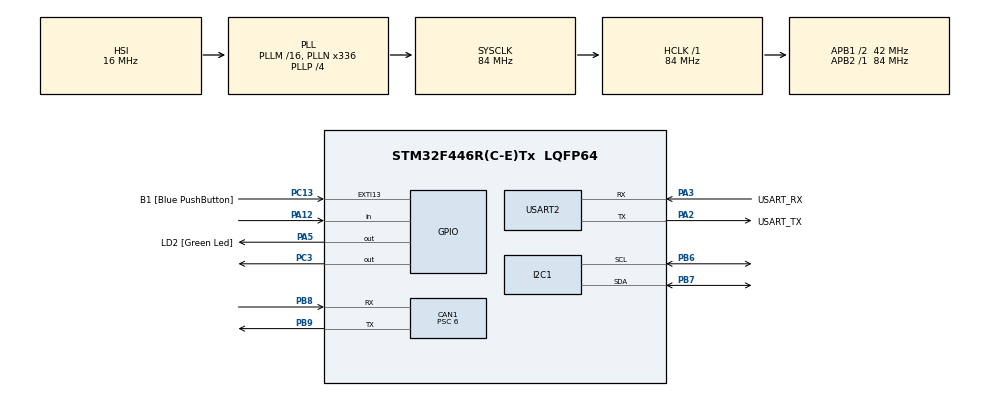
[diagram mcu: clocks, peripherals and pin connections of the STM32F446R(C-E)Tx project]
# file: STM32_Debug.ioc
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CAN1.ABOM=ENABLE
CAN1.BS1=CAN_BS1_11TQ
CAN1.BS2=CAN_BS2_2TQ
CAN1.CalculateBaudRate=500000
CAN1.CalculateTimeBit=2000
CAN1.CalculateTimeQuantum=142.85714285714286
CAN1.NART=ENABLE
CAN1.Prescaler=6
Dma.I2C1_RX.0.Direction=DMA_PERIPH_TO_MEMORY
Dma.I2C1_RX.0.FIFOMode=DMA_FIFOMODE_DISABLE
Dma.I2C1_RX.0.Instance=DMA1_Stream0
Dma.I2C1_RX.0.MemDataAlignment=DMA_MDATAALIGN_BYTE
Dma.I2C1_RX.0.MemInc=DMA_MINC_ENABLE
Dma.I2C1_RX.0.Mode=DMA_NORMAL
Dma.I2C1_RX.0.PeriphDataAlignment=DMA_PDATAALIGN_BYTE
Dma.I2C1_RX.0.PeriphInc=DMA_PINC_DISABLE
Dma.I2C1_RX.0.Priority=DMA_PRIORITY_HIGH
Dma.Request0=I2C1_RX
I2C1.I2C_Mode=I2C_Fast
Mcu.Family=STM32F4
Mcu.Name=STM32F446R(C-E)Tx
Mcu.Package=LQFP64
NVIC.CAN1_RX0_IRQn=true\:0\:0\:false\:false\:true\:true\:true\:true
NVIC.DMA1_Stream0_IRQn=true\:0\:0\:false\:false\:true\:false\:true\:true
NVIC.I2C1_ER_IRQn=true\:0\:0\:false\:false\:true\:true\:true\:true
NVIC.I2C1_EV_IRQn=true\:0\:0\:false\:false\:true\:true\:true\:true
NVIC.PriorityGroup=NVIC_PRIORITYGROUP_0
NVIC.TIM6_DAC_IRQn=true\:0\:0\:false\:false\:true\:true\:true\:true
NVIC.TIM7_IRQn=true\:0\:0\:false\:false\:true\:true\:true\:true
PA12.GPIO_PuPd=GPIO_PULLUP
PA12.Signal=GPIO_Input
PA13.GPIO_Label=TMS
PA13.Mode=Serial_Wire
PA13.Signal=SYS_JTMS-SWDIO
PA14.GPIO_Label=TCK
PA14.Mode=Serial_Wire
PA14.Signal=SYS_JTCK-SWCLK
PA2.GPIO_Label=USART_TX
PA2.Mode=Asynchronous
PA2.Signal=USART2_TX
PA3.GPIO_Label=USART_RX
PA3.Mode=Asynchronous
PA3.Signal=USART2_RX
PA5.GPIO_Label=LD2 [Green Led]
PA5.GPIO_Speed=GPIO_SPEED_FREQ_HIGH
PA5.Signal=GPIO_Output
PB3.GPIO_Label=SWO
PB3.Signal=SYS_JTDO-SWO
PB6.Mode=I2C
PB6.Signal=I2C1_SCL
PB7.Mode=I2C
PB7.Signal=I2C1_SDA
PB8.Mode=CAN_Activate
PB8.Signal=CAN1_RX
PB9.Mode=CAN_Activate
PB9.Signal=CAN1_TX
PC13.GPIO_Label=B1 [Blue PushButton]
PC13.GPIO_ModeDefaultEXTI=GPIO_MODE_IT_FALLING
PC13.Signal=GPXTI13
PC14-OSC32_IN.Signal=RCC_OSC32_IN
PC15-OSC32_OUT.Signal=RCC_OSC32_OUT
PC3.GPIO_Speed=GPIO_SPEED_FREQ_HIGH
PC3.Signal=GPIO_Output
PH0-OSC_IN.Mode=HSE-External-Oscillator
PH0-OSC_IN.Signal=RCC_OSC_IN
PH1-OSC_OUT.Mode=HSE-External-Oscillator
PH1-OSC_OUT.Signal=RCC_OSC_OUT
ProjectManager.HeapSize=0x200
ProjectManager.StackSize=0x400
ProjectManager.TargetToolchain=STM32CubeIDE
RCC.48MHZClocksFreq_Value=84000000
RCC.AHBFreq_Value=84000000
RCC.APB1CLKDivider=RCC_HCLK_DIV2
RCC.APB1Freq_Value=42000000
RCC.APB1TimFreq_Value=84000000
RCC.APB2Freq_Value=84000000
RCC.APB2TimFreq_Value=84000000
RCC.CortexFreq_Value=84000000
RCC.FLatency-AdvancedSettings=FLASH_LATENCY_2
RCC.HCLKFreq_Value=84000000
RCC.HSE_VALUE=16000000
RCC.HSI_VALUE=16000000
RCC.PLLN=336
RCC.PLLP=RCC_PLLP_DIV4
RCC.PLLQ=7
RCC.SYSCLKFreq_VALUE=84000000
RCC.SYSCLKSource=RCC_SYSCLKSOURCE_PLLCLK
RCC.USBFreq_Value=48000000
RCC.VCOOutputFreq_Value=336000000
TIM10.AutoReloadPreload=TIM_AUTORELOAD_PRELOAD_ENABLE
TIM10.Period=65535
TIM10.Prescaler=8400-1
TIM6.AutoReloadPreload=TIM_AUTORELOAD_PRELOAD_ENABLE
TIM6.Period=499
TIM6.Prescaler=839
TIM7.AutoReloadPreload=TIM_AUTORELOAD_PRELOAD_ENABLE
TIM7.Period=1000-1
TIM7.Prescaler=840-1
USART2.VirtualMode=VM_ASYNC
VP_TIM10_VS_ClockSourceINT.Mode=Enable_Timer
VP_TIM6_VS_ClockSourceINT.Mode=Enable_Timer
VP_TIM7_VS_ClockSourceINT.Mode=Enable_Timer
board=NUCLEO-F446RE

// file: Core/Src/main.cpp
/* USER CODE BEGIN Header */
/**
  ******************************************************************************
  * @file           : main.c
  * @brief          : Main program body
  ******************************************************************************
  * @attention
  *
  * Copyright (c) 2026 STMicroelectronics.
  * All rights reserved.
  *
  * This software is licensed under terms that can be found in the LICENSE file
  * in the root directory of this software component.
  * If no LICENSE file comes with this software, it is provided AS-IS.
  *
  ******************************************************************************
  */
/* USER CODE END Header */
#include "main.h"

/* USER CODE BEGIN Includes */
#include "ICM20602.h"
#include <stdio.h>
#include <string.h>
#include <math.h>
#include "ODrive/ODriveCAN.h"
#include "ODrive_CubeIDE_glue.h"
#include "llcp.h"
//#include "usbd_cdc_if.h"
/* USER CODE END Includes */

/* USER CODE BEGIN PTD */
struct ODriveUserData {

Heartbeat_msg_t last_heartbeat;

bool received_heartbeat = false;

Get_Encoder_Estimates_msg_t last_feedback;

bool received_feedback = false;

};
/* USER CODE END PTD */

CAN_HandleTypeDef hcan1;

I2C_HandleTypeDef hi2c1;
DMA_HandleTypeDef hdma_i2c1_rx;

/* USER CODE BEGIN PV */
extern volatile float gyro_y;
extern volatile float deg_XZ;
CompFilter filter;
recieve_msg recieved_msg;
float motor_position = 0;
float reference_angle = 0;
volatile uint8_t dma_done = 0;
static uint8_t send_pos = 0;
extern uint8_t i2c_need_recovery;
uint8_t static position_enable = 1;
static uint32_t start_time_ms = 0;
uint8_t running = 0;
uint32_t value = 0;
uint8_t send_data = 0;

//--------------------------ODrive----------------------------------
CubeCANInterface can_intf = {&hcan1};
ODriveCanIntfWrapper can_wrapper = wrap_can_intf(can_intf);
ODriveCAN odrv0(can_wrapper, ODRV0_NODE_ID);

ODriveUserData odrv0_user_data;
/* USER CODE END PV */

void SystemClock_Config(void);
static void MX_GPIO_Init(void);
static void MX_DMA_Init(void);
static void MX_USART2_UART_Init(void);
static void MX_CAN1_Init(void);
static void MX_I2C1_Init(void);
static void MX_TIM10_Init(void);
static void MX_TIM6_Init(void);
static void MX_TIM7_Init(void);
/* USER CODE BEGIN PFP */

void onHeartbeat(Heartbeat_msg_t& msg, void* user_data) {

ODriveUserData* odrv_user_data = static_cast<ODriveUserData*>(user_data);

odrv_user_data->last_heartbeat = msg;

odrv_user_data->received_heartbeat = true;

}

// Called every time a feedback message arrives

void onFeedback(Get_Encoder_Estimates_msg_t& msg, void* user_data) {

ODriveUserData* odrv_user_data = static_cast<ODriveUserData*>(user_data);

odrv_user_data->last_feedback = msg;

odrv_user_data->received_feedback = true;

}

/* USER CODE END PFP */

int main(void)
{

  /* MCU Configuration--------------------------------------------------------*/

  /* Reset of all peripherals, Initializes the Flash interface and the Systick. */
  HAL_Init();

  /* Configure the system clock */
  SystemClock_Config();

  /* Initialize all configured peripherals */
  MX_GPIO_Init();
  MX_DMA_Init();
  MX_USART2_UART_Init();
  MX_CAN1_Init();
  MX_I2C1_Init();
  MX_TIM10_Init();
  MX_TIM6_Init();
  MX_TIM7_Init();
  /* USER CODE BEGIN 2 */
  ICM20602_Init();
  CF_Init(&filter, 0.0);

  //--------------------------------ODrive--------------------------

    //printf("ODrive Start \r\n");

    odrv0.onFeedback(onFeedback, &odrv0_user_data);

    odrv0.onStatus(onHeartbeat, &odrv0_user_data);

    // --- Configure CAN Filter ---

    // This is CRITICAL for receiving any messages

    CAN_FilterTypeDef sFilterConfig;

    sFilterConfig.FilterBank = 0;

    sFilterConfig.FilterMode = CAN_FILTERMODE_IDMASK;

    sFilterConfig.FilterScale = CAN_FILTERSCALE_32BIT;

    sFilterConfig.FilterIdHigh = 0x0000;

    sFilterConfig.FilterIdLow = 0x0000;

    sFilterConfig.FilterMaskIdHigh = 0x0000;

    sFilterConfig.FilterMaskIdLow = 0x0000; // Accept all messages

    sFilterConfig.FilterFIFOAssignment = CAN_RX_FIFO0;

    sFilterConfig.FilterActivation = ENABLE;

    if (HAL_CAN_ConfigFilter(&hcan1, &sFilterConfig) != HAL_OK) {
    	//printf("ERROR Filter \r\n");
    	Error_Handler();
    }

    // --- Start CAN Peripheral ---

    if (HAL_CAN_Start(&hcan1) != HAL_OK) {
    	//printf("ERROR CAN \r\n");
    	Error_Handler();
    }

    if (HAL_CAN_ActivateNotification(&hcan1, CAN_IT_RX_FIFO0_MSG_PENDING) != HAL_OK) {
    	//printf("ERROR CAN_2 \r\n");
        Error_Handler();
    }

    // --- Wait for ODrive ---

    //printf("ODrive Wait \r\n");

    while (!odrv0_user_data.received_heartbeat) {
    	pumpEvents(can_intf); // Check for messages
    	HAL_Delay(100); // Wait 100ms
    }

    //printf("ODrive Found \r\n");

    // --- Request Bus Voltage ---

    Get_Bus_Voltage_Current_msg_t vbus;

    if (!odrv0.request(vbus, 1000)) {
    	//printf("Vbus Fail \r\n");
    	Error_Handler();
    }

    // --- Set Closed Loop Control ---

    // CHCI ABY SE SPOUSTELA NA MACKNUTI NEBO POSLANI PRIKAZU S ROS2

    // Z ROSU chci byt schopen zobrazit aktualni uhel, ktery to ma sledovat a zmenit ho
    // AKTUALNI hodnotu IMU
    // aktualni polohu Odrive pozice
    // ZAPNOUT/VYPNOUT cely gimbal

    // K teto funkci pridam flag a ktery pridam do podminky v cekani po startu a posilani setPointu

    //printf("Close loop \r\n");

/*
    while (odrv0_user_data.last_heartbeat.Axis_State != ODriveAxisState::AXIS_STATE_CLOSED_LOOP_CONTROL) {

    	odrv0.clearErrors();

    	HAL_Delay(1);

    	odrv0.setState(ODriveAxisState::AXIS_STATE_CLOSED_LOOP_CONTROL);

    	// Wait 150ms for state to take effect

    	for (int i = 0; i < 15; ++i) {

    		HAL_Delay(10);

    		pumpEvents(can_intf); // Keep checking for heartbeats
    	}
    }

    //printf("ODrive Running \r\n");

    odrv0.setPosition(-(reference_angle/360.0f), 0.0, 0);
    start_time_ms = HAL_GetTick();
 */

    ///////////////////////////////////////////////////////////////

    LL_TIM_SetCounter(TIM10, 0);
	LL_TIM_EnableCounter(TIM10);

	LL_TIM_SetCounter(TIM6, 0);
	LL_TIM_EnableIT_UPDATE(TIM6);
	LL_TIM_EnableCounter(TIM6);

	LL_TIM_SetCounter(TIM7, 0);
	LL_TIM_EnableIT_UPDATE(TIM7);
	LL_TIM_EnableCounter(TIM7);

  /* USER CODE END 2 */

  /* Infinite loop */
  /* USER CODE BEGIN WHILE */
  while (1)
  {
	  		  //HAL_GPIO_WritePin(GPIOC, GPIO_PIN_3, GPIO_PIN_SET);

    /* USER CODE END WHILE */

    /* USER CODE BEGIN 3 */

	  bool message_received = receive_message();

	  if (message_received) {
		  switch(recieved_msg.id) {
			  case START: // zapnout
				  send_ACK(recieved_msg.id);

				  while (odrv0_user_data.last_heartbeat.Axis_State != ODriveAxisState::AXIS_STATE_CLOSED_LOOP_CONTROL) {

					odrv0.clearErrors();

					HAL_Delay(1);

					odrv0.setState(ODriveAxisState::AXIS_STATE_CLOSED_LOOP_CONTROL);

					// Wait 150ms for state to take effect

					for (int i = 0; i < 15; ++i) {

						HAL_Delay(10);

						pumpEvents(can_intf); // Keep checking for heartbeats
					}
				  }

				  //printf("ODrive Running \r\n");

				  //odrv0.setPosition(-(reference_angle/360.0f), 0.0, 0);
				  HAL_GPIO_WritePin(GPIOA, LD2_Pin, GPIO_PIN_SET);
				  position_enable = 0;
				  running = 1;
				  //start_time_ms = HAL_GetTick();

				  break;
			  case STOP: //vypnout
				  send_ACK(recieved_msg.id);
				  position_enable = 1;
				  running = 0;

				  while (odrv0_user_data.last_heartbeat.Axis_State != ODriveAxisState::AXIS_STATE_IDLE) {

					odrv0.clearErrors();

					HAL_Delay(1);

					odrv0.setState(ODriveAxisState::AXIS_STATE_IDLE);

					// Wait 150ms for state to take effect

					for (int i = 0; i < 15; ++i) {

						HAL_Delay(10);

						pumpEvents(can_intf); // Keep checking for heartbeats
					}
				  }
				  break;
			  case 51: // feedback

				  //send_imu(IMU_MSG_ID, filter.angle, feedback.Pos_Estimate);
				  break;
			  case REFERENCE_ANGLE_ID:
				  reference_angle = (float)recieved_msg.value;
				  send_ACK(recieved_msg.id);
				  odrv0.setPosition(-(reference_angle/360.0f), 0.0, 0);
				  position_enable = 0;

				  break;

			  case START_INFO_ID:
				  send_data = 1;

				  break;
			  default:
				  break;
		  }
	  }

/*
 *
	  if (i2c_need_recovery) {
		  i2c_need_recovery = 0;
		  HAL_I2C_DeInit(&hi2c1);
		  I2C_Bus_Recover();
		  HAL_I2C_Init(&hi2c1);
	  }
 */

	  if (dma_done) {
	      dma_done = 0;
	      static uint16_t previous_tick = 0;

		  uint16_t current_tick = LL_TIM_GetCounter(TIM10);

		  uint16_t dt_tick = current_tick - previous_tick;
		  float dt_float = (float)dt_tick*0.0001;
		  previous_tick = current_tick;

		  CF_Update(&filter, gyro_y, deg_XZ, dt_float);
		  //printf("dt: %.4f \r\n", dt_float);
		  send_pos = 1;
	  }

	  if (!position_enable) {
		  value++;
		  if (value >= 500000) {
			  value = 0;
			  HAL_GPIO_WritePin(GPIOA, LD2_Pin, GPIO_PIN_RESET);

			  position_enable = 1;
		  }
		  //zkusit vypisovat tady pres UART, printf("%d\r\n",5);

/*
 *
	      if ((HAL_GetTick() - start_time_ms) >= 5000) {
			  HAL_GPIO_WritePin(GPIOA, LD2_Pin, GPIO_PIN_RESET);
	          position_enable = 1;
			  printf("%d \r\n", 6);

	      }
 */
	  }

	  /*
	  if (send_pos && position_enable && running) {
		  	  send_pos = 0;
		  	  Get_Encoder_Estimates_msg_t feedback = odrv0_user_data.last_feedback;
	  		  motor_position = feedback.Pos_Estimate + ((-reference_angle/360.0f)+(filter.angle/360.0f)); // zkusit omezit ((-reference_angle/360.0f)+(filter.angle/360.0f)), na maximalni prirustek 20 stupnu
              if (motor_position >= -0.25 && motor_position <=0.25) {
            	  odrv0.setPosition(motor_position, 0.0, 0.0);
              }
	  }

	  if (send_data) {
	  	  send_ACK(recieved_msg.id);

	  	  // udelat si posilaci zpravu
	  }
	   */

	  //static uint8_t msg[] = "Hello from STM32\r\n";
	  //CDC_Transmit_FS(msg, sizeof(msg));

    /* USER CODE END WHILE */

    /* USER CODE BEGIN 3 */
  }
  /* USER CODE END 3 */
}

void SystemClock_Config(void)
{
  RCC_OscInitTypeDef RCC_OscInitStruct = {0};
  RCC_ClkInitTypeDef RCC_ClkInitStruct = {0};

  /** Configure the main internal regulator output voltage
  */
  __HAL_RCC_PWR_CLK_ENABLE();
  __HAL_PWR_VOLTAGESCALING_CONFIG(PWR_REGULATOR_VOLTAGE_SCALE3);

  /** Initializes the RCC Oscillators according to the specified parameters
  * in the RCC_OscInitTypeDef structure.
  */
  RCC_OscInitStruct.OscillatorType = RCC_OSCILLATORTYPE_HSI;
  RCC_OscInitStruct.HSIState = RCC_HSI_ON;
  RCC_OscInitStruct.HSICalibrationValue = RCC_HSICALIBRATION_DEFAULT;
  RCC_OscInitStruct.PLL.PLLState = RCC_PLL_ON;
  RCC_OscInitStruct.PLL.PLLSource = RCC_PLLSOURCE_HSI;
  RCC_OscInitStruct.PLL.PLLM = 16;
  RCC_OscInitStruct.PLL.PLLN = 336;
  RCC_OscInitStruct.PLL.PLLP = RCC_PLLP_DIV4;
  RCC_OscInitStruct.PLL.PLLQ = 7;
  RCC_OscInitStruct.PLL.PLLR = 2;
  if (HAL_RCC_OscConfig(&RCC_OscInitStruct) != HAL_OK)
  {
    Error_Handler();
  }

  /** Initializes the CPU, AHB and APB buses clocks
  */
  RCC_ClkInitStruct.ClockType = RCC_CLOCKTYPE_HCLK|RCC_CLOCKTYPE_SYSCLK
                              |RCC_CLOCKTYPE_PCLK1|RCC_CLOCKTYPE_PCLK2;
  RCC_ClkInitStruct.SYSCLKSource = RCC_SYSCLKSOURCE_PLLCLK;
  RCC_ClkInitStruct.AHBCLKDivider = RCC_SYSCLK_DIV1;
  RCC_ClkInitStruct.APB1CLKDivider = RCC_HCLK_DIV2;
  RCC_ClkInitStruct.APB2CLKDivider = RCC_HCLK_DIV1;

  if (HAL_RCC_ClockConfig(&RCC_ClkInitStruct, FLASH_LATENCY_2) != HAL_OK)
  {
    Error_Handler();
  }
}

static void MX_CAN1_Init(void)
{

  hcan1.Instance = CAN1;
  hcan1.Init.Prescaler = 6;
  hcan1.Init.Mode = CAN_MODE_NORMAL;
  hcan1.Init.SyncJumpWidth = CAN_SJW_1TQ;
  hcan1.Init.TimeSeg1 = CAN_BS1_11TQ;
  hcan1.Init.TimeSeg2 = CAN_BS2_2TQ;
  hcan1.Init.TimeTriggeredMode = DISABLE;
  hcan1.Init.AutoBusOff = ENABLE;
  hcan1.Init.AutoWakeUp = DISABLE;
  hcan1.Init.AutoRetransmission = ENABLE;
  hcan1.Init.ReceiveFifoLocked = DISABLE;
  hcan1.Init.TransmitFifoPriority = DISABLE;
  if (HAL_CAN_Init(&hcan1) != HAL_OK)
  {
    Error_Handler();
  }

}

static void MX_I2C1_Init(void)
{

  hi2c1.Instance = I2C1;
  hi2c1.Init.ClockSpeed = 400000;
  hi2c1.Init.DutyCycle = I2C_DUTYCYCLE_2;
  hi2c1.Init.OwnAddress1 = 0;
  hi2c1.Init.AddressingMode = I2C_ADDRESSINGMODE_7BIT;
  hi2c1.Init.DualAddressMode = I2C_DUALADDRESS_DISABLE;
  hi2c1.Init.OwnAddress2 = 0;
  hi2c1.Init.GeneralCallMode = I2C_GENERALCALL_DISABLE;
  hi2c1.Init.NoStretchMode = I2C_NOSTRETCH_DISABLE;
  if (HAL_I2C_Init(&hi2c1) != HAL_OK)
  {
    Error_Handler();
  }

}

static void MX_TIM6_Init(void)
{

  LL_TIM_InitTypeDef TIM_InitStruct = {0};

  /* Peripheral clock enable */
  LL_APB1_GRP1_EnableClock(LL_APB1_GRP1_PERIPH_TIM6);

  /* TIM6 interrupt Init */
  NVIC_SetPriority(TIM6_DAC_IRQn, NVIC_EncodePriority(NVIC_GetPriorityGrouping(),0, 0));
  NVIC_EnableIRQ(TIM6_DAC_IRQn);

  TIM_InitStruct.Prescaler = 839;
  TIM_InitStruct.CounterMode = LL_TIM_COUNTERMODE_UP;
  TIM_InitStruct.Autoreload = 499;
  LL_TIM_Init(TIM6, &TIM_InitStruct);
  LL_TIM_EnableARRPreload(TIM6);
  LL_TIM_SetTriggerOutput(TIM6, LL_TIM_TRGO_RESET);
  LL_TIM_DisableMasterSlaveMode(TIM6);

}

static void MX_TIM7_Init(void)
{

  LL_TIM_InitTypeDef TIM_InitStruct = {0};

  /* Peripheral clock enable */
  LL_APB1_GRP1_EnableClock(LL_APB1_GRP1_PERIPH_TIM7);

  /* TIM7 interrupt Init */
  NVIC_SetPriority(TIM7_IRQn, NVIC_EncodePriority(NVIC_GetPriorityGrouping(),0, 0));
  NVIC_EnableIRQ(TIM7_IRQn);

  TIM_InitStruct.Prescaler = 839;
  TIM_InitStruct.CounterMode = LL_TIM_COUNTERMODE_UP;
  TIM_InitStruct.Autoreload = 1000-LL_TIM_IC_FILTER_FDIV1_N2;
  LL_TIM_Init(TIM7, &TIM_InitStruct);
  LL_TIM_EnableARRPreload(TIM7);
  LL_TIM_SetTriggerOutput(TIM7, LL_TIM_TRGO_RESET);
  LL_TIM_DisableMasterSlaveMode(TIM7);

}

static void MX_TIM10_Init(void)
{

  LL_TIM_InitTypeDef TIM_InitStruct = {0};

  /* Peripheral clock enable */
  LL_APB2_GRP1_EnableClock(LL_APB2_GRP1_PERIPH_TIM10);

  TIM_InitStruct.Prescaler = 8399;
  TIM_InitStruct.CounterMode = LL_TIM_COUNTERMODE_UP;
  TIM_InitStruct.Autoreload = 65535;
  TIM_InitStruct.ClockDivision = LL_TIM_CLOCKDIVISION_DIV1;
  LL_TIM_Init(TIM10, &TIM_InitStruct);
  LL_TIM_EnableARRPreload(TIM10);

}

static void MX_USART2_UART_Init(void)
{

  LL_USART_InitTypeDef USART_InitStruct = {0};

  LL_GPIO_InitTypeDef GPIO_InitStruct = {0};

  /* Peripheral clock enable */
  LL_APB1_GRP1_EnableClock(LL_APB1_GRP1_PERIPH_USART2);

  LL_AHB1_GRP1_EnableClock(LL_AHB1_GRP1_PERIPH_GPIOA);
  /**USART2 GPIO Configuration
  PA2   ------> USART2_TX
  PA3   ------> USART2_RX
  */
  GPIO_InitStruct.Pin = LL_GPIO_PIN_2|LL_GPIO_PIN_3;
  GPIO_InitStruct.Mode = LL_GPIO_MODE_ALTERNATE;
  GPIO_InitStruct.Speed = LL_GPIO_SPEED_FREQ_VERY_HIGH;
  GPIO_InitStruct.OutputType = LL_GPIO_OUTPUT_PUSHPULL;
  GPIO_InitStruct.Pull = LL_GPIO_PULL_NO;
  GPIO_InitStruct.Alternate = LL_GPIO_AF_7;
  LL_GPIO_Init(GPIOA, &GPIO_InitStruct);

  USART_InitStruct.BaudRate = 115200;
  USART_InitStruct.DataWidth = LL_USART_DATAWIDTH_8B;
  USART_InitStruct.StopBits = LL_USART_STOPBITS_1;
  USART_InitStruct.Parity = LL_USART_PARITY_NONE;
  USART_InitStruct.TransferDirection = LL_USART_DIRECTION_TX_RX;
  USART_InitStruct.HardwareFlowControl = LL_USART_HWCONTROL_NONE;
  USART_InitStruct.OverSampling = LL_USART_OVERSAMPLING_16;
  LL_USART_Init(USART2, &USART_InitStruct);
  LL_USART_ConfigAsyncMode(USART2);
  LL_USART_Enable(USART2);

}

static void MX_DMA_Init(void)
{

  /* DMA controller clock enable */
  __HAL_RCC_DMA1_CLK_ENABLE();

  /* DMA interrupt init */
  /* DMA1_Stream0_IRQn interrupt configuration */
  HAL_NVIC_SetPriority(DMA1_Stream0_IRQn, 0, 0);
  HAL_NVIC_EnableIRQ(DMA1_Stream0_IRQn);

}

static void MX_GPIO_Init(void)
{
  GPIO_InitTypeDef GPIO_InitStruct = {0};

  /* GPIO Ports Clock Enable */
  __HAL_RCC_GPIOC_CLK_ENABLE();
  __HAL_RCC_GPIOH_CLK_ENABLE();
  __HAL_RCC_GPIOA_CLK_ENABLE();
  __HAL_RCC_GPIOB_CLK_ENABLE();

  /*Configure GPIO pin Output Level */
  HAL_GPIO_WritePin(GPIOC, GPIO_PIN_3, GPIO_PIN_RESET);

  /*Configure GPIO pin Output Level */
  HAL_GPIO_WritePin(LD2_GPIO_Port, LD2_Pin, GPIO_PIN_RESET);

  /*Configure GPIO pin : B1_Pin */
  GPIO_InitStruct.Pin = B1_Pin;
  GPIO_InitStruct.Mode = GPIO_MODE_IT_FALLING;
  GPIO_InitStruct.Pull = GPIO_NOPULL;
  HAL_GPIO_Init(B1_GPIO_Port, &GPIO_InitStruct);

  /*Configure GPIO pin : PC3 */
  GPIO_InitStruct.Pin = GPIO_PIN_3;
  GPIO_InitStruct.Mode = GPIO_MODE_OUTPUT_PP;
  GPIO_InitStruct.Pull = GPIO_NOPULL;
  GPIO_InitStruct.Speed = GPIO_SPEED_FREQ_HIGH;
  HAL_GPIO_Init(GPIOC, &GPIO_InitStruct);

  /*Configure GPIO pin : LD2_Pin */
  GPIO_InitStruct.Pin = LD2_Pin;
  GPIO_InitStruct.Mode = GPIO_MODE_OUTPUT_PP;
  GPIO_InitStruct.Pull = GPIO_NOPULL;
  GPIO_InitStruct.Speed = GPIO_SPEED_FREQ_HIGH;
  HAL_GPIO_Init(LD2_GPIO_Port, &GPIO_InitStruct);

  /*Configure GPIO pin : PA12 */
  GPIO_InitStruct.Pin = GPIO_PIN_12;
  GPIO_InitStruct.Mode = GPIO_MODE_INPUT;
  GPIO_InitStruct.Pull = GPIO_PULLUP;
  HAL_GPIO_Init(GPIOA, &GPIO_InitStruct);

}

/* USER CODE BEGIN 4 */
#ifdef __cplusplus
extern "C" {
#endif

int __io_putchar(int ch) {
	// Wait until TXE flag is set (Transmit Data Register Empty)
	    while (!LL_USART_IsActiveFlag_TXE(USART2));

	    // Transmit character
	    LL_USART_TransmitData8(USART2, (uint8_t)ch);

	    return ch;
}

int _write(int file, char *ptr, int len) {
	for (int i = 0; i < len; i++)
	    {
	        while (!LL_USART_IsActiveFlag_TXE(USART2));
	        LL_USART_TransmitData8(USART2, (uint8_t)ptr[i]);
	    }

	    // Optional: wait for TC (Transmission Complete)
	    while (!LL_USART_IsActiveFlag_TC(USART2));

	    return len;
}

void HAL_CAN_RxFifo0MsgPendingCallback(CAN_HandleTypeDef *hcan)
{
	pumpEvents(can_intf);
}

/*
 *
void HAL_I2C_MemRxCpltCallback(I2C_HandleTypeDef *hi2c)
{
    if(hi2c->Instance == I2C1) {
    	acc_x_raw = (int16_t)((data_acc[0] << 8) + data_acc[1]);
		acc_y_raw = (int16_t)((data_acc[2] << 8) + data_acc[3]);
		acc_z_raw = (int16_t)((data_acc[4] << 8) + data_acc[5]);
		acc_x = ((float)acc_x_raw /ACC_SCALE);
		acc_y = ((float)acc_y_raw /ACC_SCALE);
		acc_z = ((float)acc_z_raw /ACC_SCALE);
		rad_XZ = atan2f(acc_x, acc_z);
		//rad_XZ = atan2f(-acc_x, sqrt(acc_y*acc_y + acc_z*acc_z));
		deg_XZ = (rad_XZ*RAD2DEG);

        dma_done = 1;

        //TODO: zkusit jesli pribiha callback pomoci printf
    }
}
 */

void imu_callback()
{
	if(HAL_I2C_GetState(&hi2c1) == HAL_I2C_STATE_READY) {
		Read_data();
		/*
		 *
		if (dma_done) {
			dma_done = 0;
			uint16_t current_tick = LL_TIM_GetCounter(TIM10);

			uint16_t dt_tick = current_tick - previous_tick;
			float dt_float = (float)dt_tick*0.0001;
			previous_tick = current_tick;

			CF_Update(&filter, gyro_y, deg_XZ, dt_float);
			//printf("dt: %.4f \r\n", filter.angle);
			send_pos = 1;
		}
		 */
	}
}

void feedback_callback()
{
	if (send_data) {
	  	send_ACK(57);
	}
}

}

#ifdef __cplusplus
#endif
/* USER CODE END 4 */

void Error_Handler(void)
{
  __disable_irq();
  while (1)
  {
  }
}
